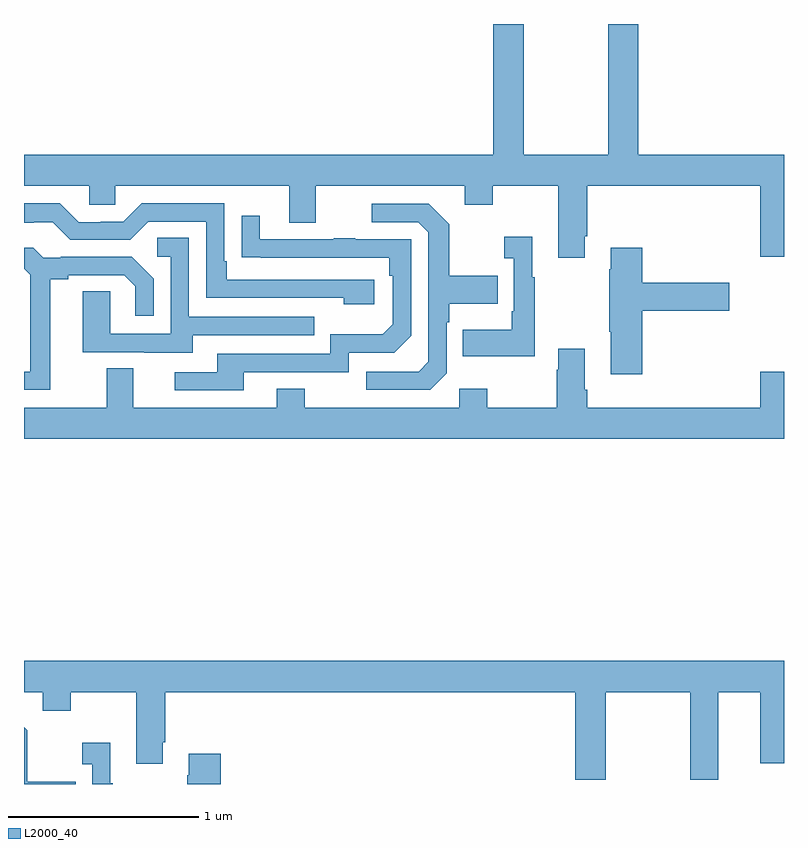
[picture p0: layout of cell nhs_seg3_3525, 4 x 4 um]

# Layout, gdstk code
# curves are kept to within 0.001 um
import gdstk
lib = gdstk.Library(unit=1e-6, precision=1e-09)
def P(c, l, *ps):  # polygons
    for p in ps: c.add(gdstk.Polygon(p, *l))
L2000_40 = (2000, 40)

nhs_seg3_3525 = lib.new_cell('nhs_seg3_3525')
P(nhs_seg3_3525, L2000_40, [(295.951,735.283),(295.964,735.283),(295.964,735.548),(296.876,735.548),(296.876,735.174),(297,735.174),(297,735.712),(296.234,735.712),(296.234,736.4),(296.074,736.4),(296.074,735.712),(295.629,735.712),(295.629,736.4),(295.469,736.4),(295.469,735.712),(293,735.712),(293,735.548),(293.343,735.548),(293.343,735.45),(293.481,735.45),(293.481,735.548),(294.395,735.548),(294.395,735.354),(294.535,735.354),(294.535,735.548),(295.319,735.548),(295.319,735.449),(295.467,735.449),(295.467,735.548),(295.811,735.548),(295.811,735.171),(295.951,735.171)],
  [(294.844,735.054),(294.067,735.054),(294.067,735.151),(294.054,735.151),(294.054,735.456),(293.619,735.456),(293.523,735.36),(293.405,735.36),(293.405,735.357),(293.289,735.357),(293.189,735.457),(293,735.457),(293,735.353),(293.051,735.353),(293.051,735.357),(293.151,735.357),(293.244,735.264),(293.559,735.264),(293.655,735.36),(293.958,735.36),(293.958,734.958),(294.683,734.958),(294.683,734.924),(294.844,734.924)],
  [(295.224,734.562),(295.224,734.831),(295.237,734.831),(295.237,734.927),(295.493,734.927),(295.493,735.075),(295.237,735.075),(295.237,735.347),(295.131,735.453),(294.831,735.453),(294.831,735.357),(295.074,735.357),(295.128,735.303),(295.128,734.622),(295.077,734.571),(294.801,734.571),(294.801,734.475),(295.137,734.475)],
  [(294.157,734.568),(294.708,734.568),(294.708,734.67),(294.948,734.67),(295.038,734.76),(295.038,735.267),(294.743,735.267),(294.743,735.272),(294.631,735.272),(294.631,735.267),(294.241,735.267),(294.241,735.391),(294.145,735.391),(294.145,735.172),(294.922,735.171),(294.922,735.074),(294.942,735.074),(294.942,734.82),(294.889,734.767),(294.612,734.767),(294.612,734.664),(294.017,734.664),(294.017,734.568),(293.793,734.568),(293.793,734.472),(294.157,734.472)],
  [(295.687,735.067),(295.675,735.067),(295.675,735.28),(295.527,735.28),(295.527,735.167),(295.578,735.167),(295.578,734.887),(295.566,734.887),(295.566,734.791),(295.309,734.791),(295.309,734.651),(295.687,734.651)],
  [(293.887,734.763),(294.527,734.763),(294.527,734.859),(293.868,734.859),(293.868,735.275),(293.7,735.275),(293.7,735.174),(293.772,735.174),(293.772,734.769),(293.454,734.769),(293.454,734.993),(293.309,734.993),(293.309,734.673),(293.633,734.673),(293.633,734.669),(293.887,734.669)],
  [(293.137,735.056),(293.233,735.056),(293.233,735.078),(293.528,735.078),(293.585,735.021),(293.585,734.865),(293.682,734.865),(293.682,735.058),(293.566,735.174),(293.194,735.174),(293.194,735.171),(293.1,735.171),(293.048,735.223),(293,735.223),(293,735.112),(293.033,735.079),(293.033,734.571),(293,734.571),(293,734.475),(293.137,734.475)],
  [(296.255,734.891),(296.713,734.891),(296.713,735.038),(296.255,735.038),(296.255,735.223),(296.087,735.223),(296.087,735.11),(296.08,735.11),(296.08,734.779),(296.087,734.779),(296.087,734.556),(296.255,734.556)],
  [(297,734.569),(296.876,734.569),(296.876,734.38),(295.964,734.38),(295.964,734.476),(295.951,734.476),(295.951,734.692),(295.811,734.692),(295.811,734.579),(295.804,734.579),(295.804,734.38),(295.437,734.38),(295.437,734.479),(295.29,734.479),(295.29,734.38),(294.477,734.38),(294.477,734.479),(294.329,734.479),(294.329,734.38),(293.575,734.38),(293.575,734.588),(293.435,734.588),(293.435,734.38),(293,734.38),(293,734.216),(297,734.216)],
  [(296.061,732.884),(296.506,732.884),(296.506,732.423),(296.653,732.423),(296.653,732.884),(296.876,732.884),(296.876,732.51),(297,732.51),(297,733.048),(293,733.048),(293,732.884),(293.099,732.884),(293.099,732.785),(293.247,732.785),(293.247,732.884),(293.591,732.884),(293.591,732.507),(293.731,732.507),(293.731,732.619),(293.744,732.619),(293.744,732.884),(295.901,732.884),(295.901,732.423),(296.061,732.423)],
  [(293.273,732.411),(293.017,732.411),(293.017,732.683),(293,732.7),(293,732.4),(293.273,732.4)],
  [(293.467,732.403),(293.455,732.403),(293.455,732.616),(293.307,732.616),(293.307,732.503),(293.358,732.503),(293.358,732.4),(293.467,732.4)],
  [(294.035,732.559),(293.867,732.559),(293.867,732.446),(293.86,732.446),(293.86,732.4),(294.035,732.4)])

lib.write_gds('nhs_seg3_3525.gds')
